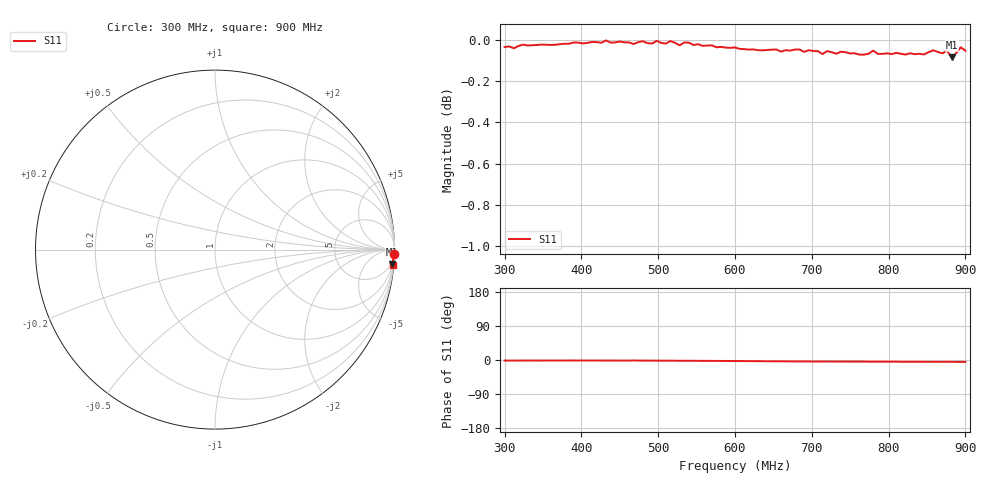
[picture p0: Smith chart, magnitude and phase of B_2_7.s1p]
# HZ S RI R 50
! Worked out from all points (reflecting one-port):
!   101 points, 300 MHz to 900 MHz, reference 50 ohm
!   lowest |S11| = -0.1 dB at 882 MHz (marker M1), VSWR 206.31, Z = 138 - j1.18e+03 ohm
!   phase of S11 starts at -1 deg and turns -3 deg over the sweep
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3e8  0.9958 -0.0257
3.78e8  0.9977 -0.0236
4.5e8  0.9989 -0.0253
4.62e8  0.9984 -0.0263
4.68e8  0.9976 -0.0211
4.74e8  0.9985 -0.0271
5.16e8  0.999 -0.0309
5.28e8  0.9965 -0.0345
5.34e8  0.9981 -0.0348
6e8  0.9948 -0.047
6.48e8  0.9929 -0.0595
6.78e8  0.9927 -0.0641
6.84e8  0.9925 -0.0669
6.9e8  0.9913 -0.0653
7.02e8  0.9915 -0.0693
7.26e8  0.9908 -0.0699
7.5e8  0.9898 -0.0742
7.68e8  0.989 -0.0756
7.8e8  0.9912 -0.0768
7.86e8  0.9894 -0.0764
8.28e8  0.9894 -0.0801
8.52e8  0.9898 -0.0833
8.58e8  0.9909 -0.0825
8.7e8  0.9891 -0.0835
8.76e8  0.9908 -0.0816
8.82e8  0.9869 -0.0825
8.94e8  0.9924 -0.0851
9e8  0.9904 -0.0848
